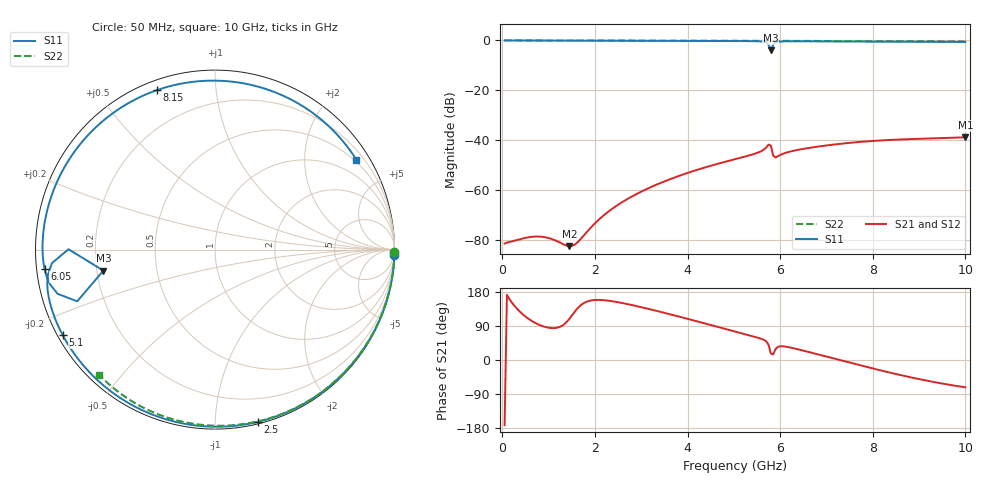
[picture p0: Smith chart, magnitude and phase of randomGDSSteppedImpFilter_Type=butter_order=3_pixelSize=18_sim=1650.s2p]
! freq	dB(S11)	phase(S11)	dB(S12)	phase(S12)
!  dB(S21)	phase(S21)	dB(S22)	phase(S22)
!S-par simulation data
#  GHz  S  DB  R 50
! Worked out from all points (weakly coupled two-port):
!   200 points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, 50 MHz to 10 GHz, reference 50 ohm
!   highest |S21| = -38.83 dB at 10 GHz (marker M1); lowest = -82.5 dB at 1.45 GHz (marker M2)
!   lowest |S11| = -4.0 dB at 5.8 GHz (marker M3), VSWR 4.45, Z = 11.3 - j4.42 ohm
!   |S11| at or under -10 dB: nowhere
!   |S22| runs from -0.4 to 0.0 dB; largest |S21 - S12| = 0
!   S11 on the Smith chart (normalised r, x): 50 MHz: 0, -73; 2.5 GHz: 0.01, -1.28; 5.1 GHz: 0.01, -0.26; 6.05 GHz: 0.02, -0.06; 8.15 GHz: 0.04, +0.70; 10 GHz: 0.44, +3.39
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0.05  -0.00 -1.6  -81.38 -172.0  -81.38 -172.0  -0.00 -0.8
0.75  -0.02 -23.5  -78.59 95.5  -78.59 95.5  -0.01 -11.5
1.45  -0.06 -44.9  -82.46 108.9  -82.46 108.9  -0.03 -22.0
1.65  -0.06 -50.9  -80.45 139.6  -80.45 139.6  -0.03 -25.0
1.75  -0.07 -53.9  -78.39 149.5  -78.39 149.5  -0.03 -26.5
2.5  -0.10 -76.0  -65.86 152.5  -65.86 152.5  -0.05 -37.5
3.4  -0.13 -101.8  -57.25 127.5  -57.25 127.5  -0.07 -50.4
4.2  -0.17 -124.4  -51.90 102.2  -51.90 102.2  -0.09 -61.5
5.05  -0.23 -149.1  -47.48 74.3  -47.48 74.3  -0.11 -73.0
5.1  -0.24 -150.7  -47.24 72.7  -47.24 72.7  -0.11 -73.6
5.65  -0.53 -171.5  -43.71 53.2  -43.71 53.2  -0.13 -80.8
5.75  -1.77 179.9  -41.75 40.0  -41.75 40.0  -0.14 -82.0
5.8  -3.97 -169.3  -42.16 16.9  -42.16 16.9  -0.14 -82.7
5.85  -1.73 -159.4  -46.19 14.9  -46.19 14.9  -0.14 -83.3
5.9  -0.81 -164.3  -46.91 28.8  -46.91 28.8  -0.14 -84.0
6.05  -0.39 -173.5  -45.50 36.2  -45.50 36.2  -0.15 -85.9
6.7  -0.36 163.1  -42.85 18.5  -42.85 18.5  -0.18 -94.0
7.4  -0.42 138.5  -41.23 -3.7  -41.23 -3.7  -0.22 -102.5
8.15  -0.49 110.0  -40.11 -26.9  -40.11 -26.9  -0.27 -111.4
8.35  -0.50 102.0  -39.90 -32.8  -39.90 -32.8  -0.29 -113.7
9.15  -0.56 68.6  -39.33 -54.1  -39.33 -54.1  -0.36 -123.0
10  -0.60 32.4  -38.83 -72.2  -38.83 -72.2  -0.44 -132.8
